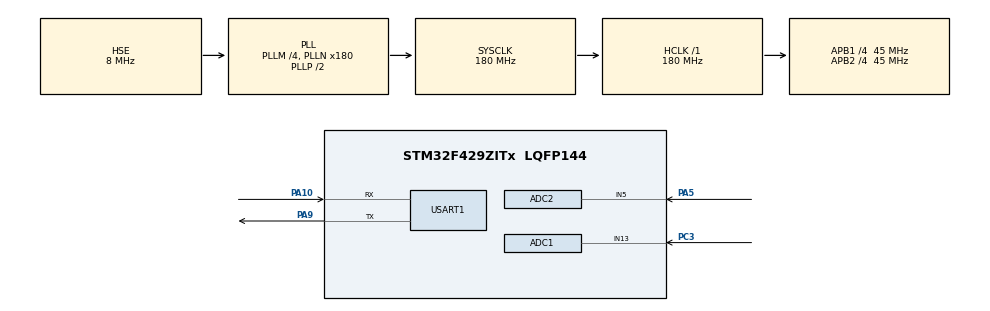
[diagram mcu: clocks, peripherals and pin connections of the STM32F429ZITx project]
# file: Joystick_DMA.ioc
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ADC1.Channel-1\#ChannelRegularConversion=ADC_CHANNEL_13
ADC1.ClockPrescaler=ADC_CLOCK_SYNC_PCLK_DIV8
ADC1.ContinuousConvMode=ENABLE
ADC1.DMAContinuousRequests=ENABLE
ADC1.NbrOfConversionFlag=1
ADC1.Rank-1\#ChannelRegularConversion=1
ADC1.Resolution=ADC_RESOLUTION_8B
ADC1.SamplingTime-1\#ChannelRegularConversion=ADC_SAMPLETIME_3CYCLES
ADC1.master=1
ADC2.Channel-0\#ChannelRegularConversion=ADC_CHANNEL_5
ADC2.ClockPrescaler=ADC_CLOCK_SYNC_PCLK_DIV8
ADC2.ContinuousConvMode=ENABLE
ADC2.DMAContinuousRequests=ENABLE
ADC2.NbrOfConversionFlag=1
ADC2.Rank-0\#ChannelRegularConversion=1
ADC2.Resolution=ADC_RESOLUTION_8B
ADC2.SamplingTime-0\#ChannelRegularConversion=ADC_SAMPLETIME_3CYCLES
Dma.ADC1.0.Direction=DMA_PERIPH_TO_MEMORY
Dma.ADC1.0.FIFOMode=DMA_FIFOMODE_ENABLE
Dma.ADC1.0.FIFOThreshold=DMA_FIFO_THRESHOLD_HALFFULL
Dma.ADC1.0.Instance=DMA2_Stream0
Dma.ADC1.0.MemBurst=DMA_MBURST_SINGLE
Dma.ADC1.0.MemDataAlignment=DMA_MDATAALIGN_BYTE
Dma.ADC1.0.MemInc=DMA_MINC_ENABLE
Dma.ADC1.0.Mode=DMA_CIRCULAR
Dma.ADC1.0.PeriphBurst=DMA_PBURST_SINGLE
Dma.ADC1.0.PeriphDataAlignment=DMA_PDATAALIGN_BYTE
Dma.ADC1.0.PeriphInc=DMA_PINC_DISABLE
Dma.ADC1.0.Priority=DMA_PRIORITY_LOW
Dma.ADC2.1.Direction=DMA_PERIPH_TO_MEMORY
Dma.ADC2.1.FIFOMode=DMA_FIFOMODE_ENABLE
Dma.ADC2.1.FIFOThreshold=DMA_FIFO_THRESHOLD_HALFFULL
Dma.ADC2.1.Instance=DMA2_Stream2
Dma.ADC2.1.MemBurst=DMA_MBURST_SINGLE
Dma.ADC2.1.MemDataAlignment=DMA_MDATAALIGN_BYTE
Dma.ADC2.1.MemInc=DMA_MINC_ENABLE
Dma.ADC2.1.Mode=DMA_CIRCULAR
Dma.ADC2.1.PeriphBurst=DMA_PBURST_SINGLE
Dma.ADC2.1.PeriphDataAlignment=DMA_PDATAALIGN_BYTE
Dma.ADC2.1.PeriphInc=DMA_PINC_DISABLE
Dma.ADC2.1.Priority=DMA_PRIORITY_LOW
Dma.Request0=ADC1
Dma.Request1=ADC2
Mcu.Family=STM32F4
Mcu.Name=STM32F429ZITx
Mcu.Package=LQFP144
NVIC.DMA2_Stream0_IRQn=true\:0\:0\:false\:false\:true\:false\:true\:true
NVIC.DMA2_Stream2_IRQn=true\:0\:0\:false\:false\:true\:false\:true\:true
NVIC.PriorityGroup=NVIC_PRIORITYGROUP_4
PA10.Mode=Asynchronous
PA10.Signal=USART1_RX
PA5.Signal=ADCx_IN5
PA9.Mode=Asynchronous
PA9.Signal=USART1_TX
PC3.Signal=ADCx_IN13
PH0/OSC_IN.Mode=HSE-External-Oscillator
PH0/OSC_IN.Signal=RCC_OSC_IN
PH1/OSC_OUT.Mode=HSE-External-Oscillator
PH1/OSC_OUT.Signal=RCC_OSC_OUT
ProjectManager.HeapSize=0x200
ProjectManager.StackSize=0x400
ProjectManager.TargetToolchain=STM32CubeIDE
RCC.48MHZClocksFreq_Value=90000000
RCC.AHBFreq_Value=180000000
RCC.APB1CLKDivider=RCC_HCLK_DIV4
RCC.APB1Freq_Value=45000000
RCC.APB1TimFreq_Value=90000000
RCC.APB2CLKDivider=RCC_HCLK_DIV4
RCC.APB2Freq_Value=45000000
RCC.APB2TimFreq_Value=90000000
RCC.CortexFreq_Value=180000000
RCC.HCLKFreq_Value=180000000
RCC.HSE_VALUE=8000000
RCC.HSI_VALUE=16000000
RCC.LSE_VALUE=32768
RCC.PLLM=4
RCC.PLLN=180
RCC.PLLSourceVirtual=RCC_PLLSOURCE_HSE
RCC.SYSCLKFreq_VALUE=180000000
RCC.SYSCLKSource=RCC_SYSCLKSOURCE_PLLCLK
RCC.VCOOutputFreq_Value=360000000
SH.ADCx_IN13.0=ADC1_IN13,IN13
SH.ADCx_IN5.0=ADC2_IN5,IN5
USART1.VirtualMode=VM_ASYNC
board=custom

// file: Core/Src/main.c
/* USER CODE BEGIN Header */
/**
 ******************************************************************************
 * @file           : main.c
 * @brief          : Main program body
 ******************************************************************************
 * @attention
 *
 * Copyright (c) 2025 STMicroelectronics.
 * All rights reserved.
 *
 * This software is licensed under terms that can be found in the LICENSE file
 * in the root directory of this software component.
 * If no LICENSE file comes with this software, it is provided AS-IS.
 *
 ******************************************************************************
 */
/* USER CODE END Header */
#include "main.h"

/* USER CODE BEGIN Includes */
#include <stdio.h>
#include <string.h>
/* USER CODE END Includes */

/* USER CODE BEGIN PD */
#define ADC_BUF_LEN 1000
/* USER CODE END PD */

ADC_HandleTypeDef hadc1;
ADC_HandleTypeDef hadc2;
DMA_HandleTypeDef hdma_adc1;
DMA_HandleTypeDef hdma_adc2;

UART_HandleTypeDef huart1;

/* USER CODE BEGIN PV */
uint8_t adc1_buf[ADC_BUF_LEN];
uint8_t adc2_buf[ADC_BUF_LEN];
uint8_t JoystickX;
uint8_t JoystickY;
/* USER CODE END PV */

void SystemClock_Config(void);
static void MX_GPIO_Init(void);
static void MX_DMA_Init(void);
static void MX_ADC1_Init(void);
static void MX_ADC2_Init(void);
static void MX_USART1_UART_Init(void);
/* USER CODE BEGIN PFP */
void Process_ADC_Data(unsigned char *JoystickX, uint8_t *adc_buf, uint16_t len);
/* USER CODE END PFP */

int main(void)
{

  /* MCU Configuration--------------------------------------------------------*/

  /* Reset of all peripherals, Initializes the Flash interface and the Systick. */
  HAL_Init();

  /* Configure the system clock */
  SystemClock_Config();

  /* Initialize all configured peripherals */
  MX_GPIO_Init();
  MX_DMA_Init();
  MX_ADC1_Init();
  MX_ADC2_Init();
  MX_USART1_UART_Init();
  /* USER CODE BEGIN 2 */
	char buf[20];
	HAL_ADC_Start_DMA(&hadc1, (uint32_t*) adc1_buf, ADC_BUF_LEN);
	HAL_ADC_Start_DMA(&hadc2, (uint32_t*) adc2_buf, ADC_BUF_LEN);
  /* USER CODE END 2 */

  /* Infinite loop */
  /* USER CODE BEGIN WHILE */
	while (1) {
		sprintf(buf, "%3d-%3d\n", JoystickX, JoystickY);
		HAL_UART_Transmit(&huart1, (uint8_t*) buf, strlen(buf), 10);
		HAL_Delay(50);
    /* USER CODE END WHILE */

	}
}

void SystemClock_Config(void)
{
  RCC_OscInitTypeDef RCC_OscInitStruct = {0};
  RCC_ClkInitTypeDef RCC_ClkInitStruct = {0};

  /** Configure the main internal regulator output voltage
  */
  __HAL_RCC_PWR_CLK_ENABLE();
  __HAL_PWR_VOLTAGESCALING_CONFIG(PWR_REGULATOR_VOLTAGE_SCALE1);

  /** Initializes the RCC Oscillators according to the specified parameters
  * in the RCC_OscInitTypeDef structure.
  */
  RCC_OscInitStruct.OscillatorType = RCC_OSCILLATORTYPE_HSE;
  RCC_OscInitStruct.HSEState = RCC_HSE_ON;
  RCC_OscInitStruct.PLL.PLLState = RCC_PLL_ON;
  RCC_OscInitStruct.PLL.PLLSource = RCC_PLLSOURCE_HSE;
  RCC_OscInitStruct.PLL.PLLM = 4;
  RCC_OscInitStruct.PLL.PLLN = 180;
  RCC_OscInitStruct.PLL.PLLP = RCC_PLLP_DIV2;
  RCC_OscInitStruct.PLL.PLLQ = 4;
  if (HAL_RCC_OscConfig(&RCC_OscInitStruct) != HAL_OK)
  {
    Error_Handler();
  }

  /** Activate the Over-Drive mode
  */
  if (HAL_PWREx_EnableOverDrive() != HAL_OK)
  {
    Error_Handler();
  }

  /** Initializes the CPU, AHB and APB buses clocks
  */
  RCC_ClkInitStruct.ClockType = RCC_CLOCKTYPE_HCLK|RCC_CLOCKTYPE_SYSCLK
                              |RCC_CLOCKTYPE_PCLK1|RCC_CLOCKTYPE_PCLK2;
  RCC_ClkInitStruct.SYSCLKSource = RCC_SYSCLKSOURCE_PLLCLK;
  RCC_ClkInitStruct.AHBCLKDivider = RCC_SYSCLK_DIV1;
  RCC_ClkInitStruct.APB1CLKDivider = RCC_HCLK_DIV4;
  RCC_ClkInitStruct.APB2CLKDivider = RCC_HCLK_DIV4;

  if (HAL_RCC_ClockConfig(&RCC_ClkInitStruct, FLASH_LATENCY_5) != HAL_OK)
  {
    Error_Handler();
  }
}

static void MX_ADC1_Init(void)
{

  ADC_ChannelConfTypeDef sConfig = {0};

  /** Configure the global features of the ADC (Clock, Resolution, Data Alignment and number of conversion)
  */
  hadc1.Instance = ADC1;
  hadc1.Init.ClockPrescaler = ADC_CLOCK_SYNC_PCLK_DIV8;
  hadc1.Init.Resolution = ADC_RESOLUTION_8B;
  hadc1.Init.ScanConvMode = DISABLE;
  hadc1.Init.ContinuousConvMode = ENABLE;
  hadc1.Init.DiscontinuousConvMode = DISABLE;
  hadc1.Init.ExternalTrigConvEdge = ADC_EXTERNALTRIGCONVEDGE_NONE;
  hadc1.Init.ExternalTrigConv = ADC_SOFTWARE_START;
  hadc1.Init.DataAlign = ADC_DATAALIGN_RIGHT;
  hadc1.Init.NbrOfConversion = 1;
  hadc1.Init.DMAContinuousRequests = ENABLE;
  hadc1.Init.EOCSelection = ADC_EOC_SINGLE_CONV;
  if (HAL_ADC_Init(&hadc1) != HAL_OK)
  {
    Error_Handler();
  }

  /** Configure for the selected ADC regular channel its corresponding rank in the sequencer and its sample time.
  */
  sConfig.Channel = ADC_CHANNEL_13;
  sConfig.Rank = 1;
  sConfig.SamplingTime = ADC_SAMPLETIME_3CYCLES;
  if (HAL_ADC_ConfigChannel(&hadc1, &sConfig) != HAL_OK)
  {
    Error_Handler();
  }

}

static void MX_ADC2_Init(void)
{

  ADC_ChannelConfTypeDef sConfig = {0};

  /** Configure the global features of the ADC (Clock, Resolution, Data Alignment and number of conversion)
  */
  hadc2.Instance = ADC2;
  hadc2.Init.ClockPrescaler = ADC_CLOCK_SYNC_PCLK_DIV8;
  hadc2.Init.Resolution = ADC_RESOLUTION_8B;
  hadc2.Init.ScanConvMode = DISABLE;
  hadc2.Init.ContinuousConvMode = ENABLE;
  hadc2.Init.DiscontinuousConvMode = DISABLE;
  hadc2.Init.ExternalTrigConvEdge = ADC_EXTERNALTRIGCONVEDGE_NONE;
  hadc2.Init.ExternalTrigConv = ADC_SOFTWARE_START;
  hadc2.Init.DataAlign = ADC_DATAALIGN_RIGHT;
  hadc2.Init.NbrOfConversion = 1;
  hadc2.Init.DMAContinuousRequests = ENABLE;
  hadc2.Init.EOCSelection = ADC_EOC_SINGLE_CONV;
  if (HAL_ADC_Init(&hadc2) != HAL_OK)
  {
    Error_Handler();
  }

  /** Configure for the selected ADC regular channel its corresponding rank in the sequencer and its sample time.
  */
  sConfig.Channel = ADC_CHANNEL_5;
  sConfig.Rank = 1;
  sConfig.SamplingTime = ADC_SAMPLETIME_3CYCLES;
  if (HAL_ADC_ConfigChannel(&hadc2, &sConfig) != HAL_OK)
  {
    Error_Handler();
  }

}

static void MX_USART1_UART_Init(void)
{

  huart1.Instance = USART1;
  huart1.Init.BaudRate = 115200;
  huart1.Init.WordLength = UART_WORDLENGTH_8B;
  huart1.Init.StopBits = UART_STOPBITS_1;
  huart1.Init.Parity = UART_PARITY_NONE;
  huart1.Init.Mode = UART_MODE_TX_RX;
  huart1.Init.HwFlowCtl = UART_HWCONTROL_NONE;
  huart1.Init.OverSampling = UART_OVERSAMPLING_16;
  if (HAL_UART_Init(&huart1) != HAL_OK)
  {
    Error_Handler();
  }

}

static void MX_DMA_Init(void)
{

  /* DMA controller clock enable */
  __HAL_RCC_DMA2_CLK_ENABLE();

  /* DMA interrupt init */
  /* DMA2_Stream0_IRQn interrupt configuration */
  HAL_NVIC_SetPriority(DMA2_Stream0_IRQn, 0, 0);
  HAL_NVIC_EnableIRQ(DMA2_Stream0_IRQn);
  /* DMA2_Stream2_IRQn interrupt configuration */
  HAL_NVIC_SetPriority(DMA2_Stream2_IRQn, 0, 0);
  HAL_NVIC_EnableIRQ(DMA2_Stream2_IRQn);

}

static void MX_GPIO_Init(void)
{

  /* GPIO Ports Clock Enable */
  __HAL_RCC_GPIOH_CLK_ENABLE();
  __HAL_RCC_GPIOC_CLK_ENABLE();
  __HAL_RCC_GPIOA_CLK_ENABLE();

}

/* USER CODE BEGIN 4 */
void HAL_ADC_ConvHalfCpltCallback(ADC_HandleTypeDef *hadc) {
	if (hadc->Instance == ADC1) {
		Process_ADC_Data(&JoystickX, adc1_buf, ADC_BUF_LEN / 2);
	}
	if (hadc->Instance == ADC2) {
		Process_ADC_Data(&JoystickY, adc2_buf, ADC_BUF_LEN / 2);
	}
}

void HAL_ADC_ConvCpltCallback(ADC_HandleTypeDef *hadc) {
	if (hadc->Instance == ADC1) {
		Process_ADC_Data(&JoystickX, &adc1_buf[ADC_BUF_LEN / 2],
		ADC_BUF_LEN / 2);
	}
	if (hadc->Instance == ADC2) {
		Process_ADC_Data(&JoystickY, &adc2_buf[ADC_BUF_LEN / 2],
		ADC_BUF_LEN / 2);
	}
}

void Process_ADC_Data(unsigned char *Joystick, uint8_t *adc_buf, uint16_t len) {
	unsigned int sum = 0;
	for (int i = 0; i < len; i++) {
		sum += adc_buf[i];
	}
	*Joystick = (unsigned char) (sum / len);
}
/* USER CODE END 4 */

void Error_Handler(void)
{
	__disable_irq();
	while (1) {
	}
}
